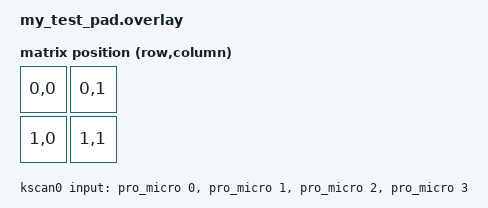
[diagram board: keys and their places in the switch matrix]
#include <dt-bindings/zmk/matrix_transform.h>

/ {
	chosen {
		zmk,kscan = &kscan0;
		zmk,matrix-transform = &default_transform;
	};

	kscan0: kscan_0 {
		compatible = "zmk,kscan-gpio-direct";
		input-gpios
			= <&pro_micro 0 GPIO_ACTIVE_HIGH>
			, <&pro_micro 1 GPIO_ACTIVE_HIGH>
			, <&pro_micro 2 GPIO_ACTIVE_HIGH>
			, <&pro_micro 3 GPIO_ACTIVE_HIGH>
			;
	};

	default_transform: keymap_transform_0 {
		compatible = "zmk,matrix-transform";
		columns = <2>;
		rows = <2>;
		map = <
			RC(0,0) RC(0,1)
			RC(1,0) RC(1,1)
		>;
	};
};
